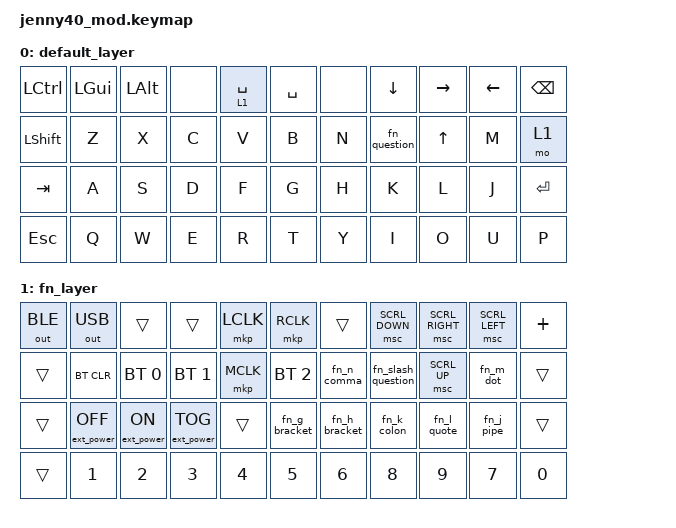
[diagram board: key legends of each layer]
#include <behaviors.dtsi>
#include <dt-bindings/zmk/keys.h>
#include <dt-bindings/zmk/mouse.h>
#include <dt-bindings/zmk/bt.h>
#include <dt-bindings/zmk/ext_power.h>
#include <dt-bindings/zmk/outputs.h>

/ {
    behaviors {
        spc_fn: spc_fn {
            compatible = "zmk,behavior-hold-tap";
            label = "SPC_FN";
            #binding-cells = <2>;
            flavor = "balanced";
            tapping-term-ms = <220>;
            bindings = <&mo>, <&kp>;
        };

        fn_question: fn_question {
            compatible = "zmk,behavior-mod-morph";
            #binding-cells = <0>;
            bindings = <&mo 1>, <&kp QUESTION>;
            mods = <(MOD_LSFT|MOD_RSFT)>;
        };

        fn_g_bracket: fn_g_bracket {
            compatible = "zmk,behavior-mod-morph";
            #binding-cells = <0>;
            bindings = <&kp LBRC>, <&kp LBKT>;
            mods = <(MOD_LSFT|MOD_RSFT)>;
        };

        fn_h_bracket: fn_h_bracket {
            compatible = "zmk,behavior-mod-morph";
            #binding-cells = <0>;
            bindings = <&kp RBRC>, <&kp RBKT>;
            mods = <(MOD_LSFT|MOD_RSFT)>;
        };

        fn_j_pipe: fn_j_pipe {
            compatible = "zmk,behavior-mod-morph";
            #binding-cells = <0>;
            bindings = <&kp PIPE>, <&kp BSLH>;
            mods = <(MOD_LSFT|MOD_RSFT)>;
        };

        fn_k_colon: fn_k_colon {
            compatible = "zmk,behavior-mod-morph";
            #binding-cells = <0>;
            bindings = <&kp COLON>, <&kp SEMI>;
            mods = <(MOD_LSFT|MOD_RSFT)>;
        };

        fn_l_quote: fn_l_quote {
            compatible = "zmk,behavior-mod-morph";
            #binding-cells = <0>;
            bindings = <&kp DQT>, <&kp SQT>;
            mods = <(MOD_LSFT|MOD_RSFT)>;
        };

        fn_n_comma: fn_n_comma {
            compatible = "zmk,behavior-mod-morph";
            #binding-cells = <0>;
            bindings = <&kp COMMA>, <&kp LT>;
            mods = <(MOD_LSFT|MOD_RSFT)>;
        };

        fn_m_dot: fn_m_dot {
            compatible = "zmk,behavior-mod-morph";
            #binding-cells = <0>;
            bindings = <&kp DOT>, <&kp GT>;
            mods = <(MOD_LSFT|MOD_RSFT)>;
        };

        fn_slash_question: fn_slash_question {
            compatible = "zmk,behavior-mod-morph";
            #binding-cells = <0>;
            bindings = <&kp SLASH>, <&kp QUESTION>;
            mods = <(MOD_LSFT|MOD_RSFT)>;
        };
    };

    keymap {
        compatible = "zmk,keymap";

        default_layer {
            bindings = <
                /* ROW1: red */
                &kp LCTRL &kp LGUI &kp LALT &none &spc_fn 1 SPACE &kp SPACE &none &kp DOWN &kp RIGHT &kp LEFT &kp BSPC

                /* ROW2: blue */
                &kp LSHFT &kp Z &kp X &kp C &kp V &kp B &kp N &fn_question &kp UP &kp M &mo 1

                /* ROW3: yellow */
                &kp TAB &kp A &kp S &kp D &kp F &kp G &kp H &kp K &kp L &kp J &kp ENTER

                /* ROW4: green */
                &kp ESC &kp Q &kp W &kp E &kp R &kp T &kp Y &kp I &kp O &kp U &kp P
            >;
        };

        fn_layer {
            bindings = <
                /* ROW1: red */
                &out OUT_BLE  &out OUT_USB  &trans        &trans        &mkp LCLK     &mkp RCLK     &trans        &msc SCRL_DOWN &msc SCRL_RIGHT &msc SCRL_LEFT &kp PLUS

                /* ROW2: blue */
                &trans        &bt BT_CLR    &bt BT_SEL 0  &bt BT_SEL 1  &mkp MCLK     &bt BT_SEL 2  &fn_n_comma   &fn_slash_question &msc SCRL_UP &fn_m_dot &trans

                /* ROW3: yellow */
                &trans        &ext_power EP_OFF &ext_power EP_ON &ext_power EP_TOG &trans &fn_g_bracket &fn_h_bracket &fn_k_colon &fn_l_quote &fn_j_pipe &trans

                /* ROW4: green */
                &trans        &kp N1        &kp N2        &kp N3        &kp N4        &kp N5        &kp N6        &kp N8        &kp N9        &kp N7        &kp N0
            >;
        };
    };

    combos {
        compatible = "zmk,combos";

        bootloader_combo {
            timeout-ms = <80>;
            key-positions = <33 43>;
            bindings = <&bootloader>;
        };

        ext_power_on_combo {
            timeout-ms = <80>;
            key-positions = <33 34>;
            bindings = <&ext_power EP_ON>;
        };
    };
};
